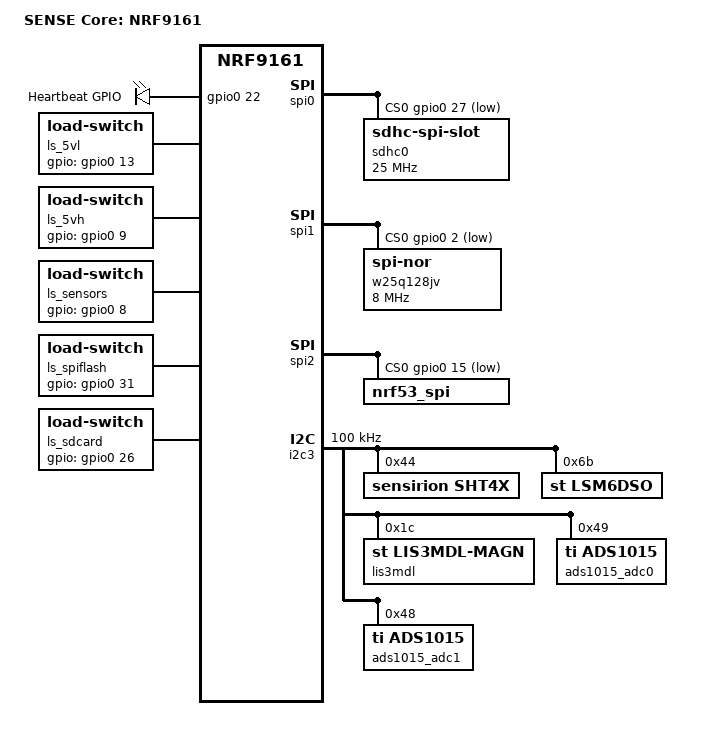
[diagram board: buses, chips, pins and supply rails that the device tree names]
#include "sense_core_nrf9161_common-pinctrl.dtsi"

/ {
	model = "SENSE Core: NRF9161";
	compatible = "skwort,sense-core-nrf9161";

	leds {
		compatible = "gpio-leds";
		hb0: hb0 {
			gpios = <&gpio0 22 GPIO_ACTIVE_HIGH>;
			label = "Heartbeat GPIO";
		};
	};

	ls_5vl: load_switch_5vl {
		compatible = "load-switch";
		gpios = <&gpio0 13 GPIO_ACTIVE_HIGH>;
	};

	ls_5vh: load_switch_5vh{
		compatible = "load-switch";
		gpios = <&gpio0 9 GPIO_ACTIVE_HIGH>;
	};

	ls_sensors: load_switch_sensors {
		compatible = "load-switch";
		gpios = <&gpio0 8 GPIO_ACTIVE_HIGH>;
	};

	ls_spiflash: load_switch_spiflash {
		compatible = "load-switch";
		gpios = <&gpio0 31 GPIO_ACTIVE_HIGH>;
	};

	ls_sdcard: load_switch_sdcard {
		compatible = "load-switch";
		gpios = <&gpio0 26 GPIO_ACTIVE_HIGH>;
	};

	aliases {
		heartbeat-gpio = &hb0;
		bootloader-led0 = &hb0;
		mcuboot-led0 = &hb0;
		watchdog0 = &wdt0;
	};
};

&gpiote {
	status = "okay";
};

&gpio0 {
	status = "okay";
};

&uart0 {
	status = "disabled";
	current-speed = <115200>;
	pinctrl-0 = <&uart0_default>;
	pinctrl-1 = <&uart0_sleep>;
	pinctrl-names = "default", "sleep";
};

&spi0 {
	compatible = "nordic,nrf-spim";
	status = "okay";
	cs-gpios = <&gpio0 27 GPIO_ACTIVE_LOW>;
	pinctrl-0 = <&spi0_default>;
	pinctrl-1 = <&spi0_sleep>;
	pinctrl-names = "default", "sleep";

        sdhc0: sdhc@0 {
                compatible = "zephyr,sdhc-spi-slot";
                reg = <0>;
                status = "okay";
                mmc {
                    compatible = "zephyr,sdmmc-disk";
                    status = "okay";
                };
                spi-max-frequency = <25000000>;
        };
};

&spi1 {
	compatible = "nordic,nrf-spim";
	status = "okay";
	cs-gpios = <&gpio0 2 GPIO_ACTIVE_LOW>;
	pinctrl-0 = <&spi1_default>;
	pinctrl-1 = <&spi1_sleep>;
	pinctrl-names = "default", "sleep";

	w25q128jv: w25q128jv@0 {
		compatible = "jedec,spi-nor";
		status = "okay";
		reg = <0>;
		spi-max-frequency = <8000000>;
		size = <DT_SIZE_M(128)>;
		jedec-id = [ef 40 18];
		has-dpd;
		t-enter-dpd = <3000>;
		t-exit-dpd = <30000>;

	};
};

&spi2 {
	compatible = "nordic,nrf-spim";
	status = "okay";
	cs-gpios = <&gpio0 15 GPIO_ACTIVE_LOW>,  // NRF53 MCU
		   <&gpio0 11 GPIO_ACTIVE_LOW>;  // AUX MCU
	pinctrl-0 = <&spi2_default>;
	pinctrl-1 = <&spi2_sleep>;
	pinctrl-names = "default", "sleep";

	nrf53_spi: nrf53_spi@0 {
		reg = <0>;
	};

	aux_spi: aux_spi@1 {
		status = "disabled";
		reg = <1>;
	};
};

&i2c3 {
	compatible = "nordic,nrf-twim";
	status = "okay";
	pinctrl-0 = <&i2c3_default>;
	pinctrl-1 = <&i2c3_sleep>;
	pinctrl-names = "default", "sleep";
	clock-frequency = <100000>;

	sht4x: sht4x@44 {
		compatible = "sensirion,sht4x";
		status = "okay";
		reg = <0x44>;
		repeatability = <2>;
	};

	lsm6dso: lsm6dso@6b {
		compatible = "st,lsm6dso";
		status = "okay";
		reg = <0x6b>;
	};

	lis3mdl: lis3mdl@1c {
		compatible = "st,lis3mdl-magn";
		status = "okay";
		reg = <0x1c>;
	};

	ads1015_adc0: ads1015_adc0@49{
		compatible = "ti,ads1015";
		status = "okay";
		reg = <0x49>;
		#io-channel-cells = <1>;
	};

	ads1015_adc1: ads1015_adc1@48{
		compatible = "ti,ads1015";
		status = "okay";
		reg = <0x48>;
		#io-channel-cells = <1>;
	};

};


/* Include default memory partition configuration file */
#include <common/nordic/nrf91xx_partition.dtsi>
